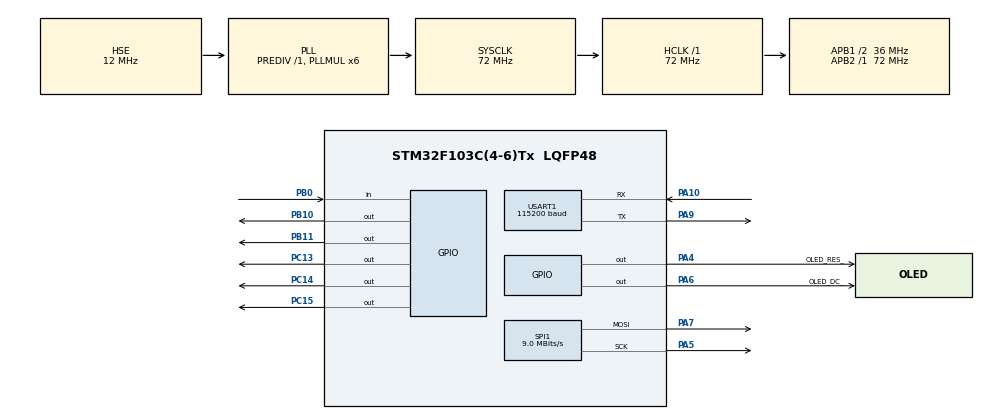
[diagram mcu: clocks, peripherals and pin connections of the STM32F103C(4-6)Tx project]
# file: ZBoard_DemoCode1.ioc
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Dma.Request0=USART1_RX
Dma.Request1=USART1_TX
Dma.USART1_RX.0.Direction=DMA_PERIPH_TO_MEMORY
Dma.USART1_RX.0.Instance=DMA1_Channel5
Dma.USART1_RX.0.MemDataAlignment=DMA_MDATAALIGN_BYTE
Dma.USART1_RX.0.MemInc=DMA_MINC_ENABLE
Dma.USART1_RX.0.Mode=DMA_NORMAL
Dma.USART1_RX.0.PeriphDataAlignment=DMA_PDATAALIGN_BYTE
Dma.USART1_RX.0.PeriphInc=DMA_PINC_DISABLE
Dma.USART1_RX.0.Priority=DMA_PRIORITY_LOW
Dma.USART1_TX.1.Direction=DMA_MEMORY_TO_PERIPH
Dma.USART1_TX.1.Instance=DMA1_Channel4
Dma.USART1_TX.1.MemDataAlignment=DMA_MDATAALIGN_BYTE
Dma.USART1_TX.1.MemInc=DMA_MINC_ENABLE
Dma.USART1_TX.1.Mode=DMA_NORMAL
Dma.USART1_TX.1.PeriphDataAlignment=DMA_PDATAALIGN_BYTE
Dma.USART1_TX.1.PeriphInc=DMA_PINC_DISABLE
Dma.USART1_TX.1.Priority=DMA_PRIORITY_LOW
Mcu.Family=STM32F1
Mcu.Name=STM32F103C(4-6)Tx
Mcu.Package=LQFP48
NVIC.DMA1_Channel4_IRQn=true\:0\:0\:false\:false\:true\:false\:true
NVIC.DMA1_Channel5_IRQn=true\:0\:0\:false\:false\:true\:false\:true
NVIC.PriorityGroup=NVIC_PRIORITYGROUP_4
NVIC.USART1_IRQn=true\:0\:0\:false\:false\:true\:true\:true
PA10.Mode=Asynchronous
PA10.Signal=USART1_RX
PA13.Mode=Serial_Wire
PA13.Signal=SYS_JTMS-SWDIO
PA14.Mode=Serial_Wire
PA14.Signal=SYS_JTCK-SWCLK
PA4.GPIO_Label=OLED_RES_
PA4.Signal=GPIO_Output
PA5.Mode=TX_Only_Simplex_Unidirect_Master
PA5.Signal=SPI1_SCK
PA6.GPIO_Label=OLED_DC_
PA6.Signal=GPIO_Output
PA7.Mode=TX_Only_Simplex_Unidirect_Master
PA7.Signal=SPI1_MOSI
PA9.Mode=Asynchronous
PA9.Signal=USART1_TX
PB0.GPIO_PuPd=GPIO_PULLUP
PB0.Signal=GPIO_Input
PB10.GPIO_ModeDefaultOutputPP=GPIO_MODE_OUTPUT_OD
PB10.GPIO_PuPd=GPIO_PULLUP
PB10.Signal=GPIO_Output
PB11.GPIO_ModeDefaultOutputPP=GPIO_MODE_OUTPUT_OD
PB11.GPIO_PuPd=GPIO_PULLUP
PB11.Signal=GPIO_Output
PC13-TAMPER-RTC.Signal=GPIO_Output
PC14-OSC32_IN.Signal=GPIO_Output
PC15-OSC32_OUT.Signal=GPIO_Output
PD0-OSC_IN.Mode=HSE-External-Oscillator
PD0-OSC_IN.Signal=RCC_OSC_IN
PD1-OSC_OUT.Mode=HSE-External-Oscillator
PD1-OSC_OUT.Signal=RCC_OSC_OUT
ProjectManager.HeapSize=0x200
ProjectManager.StackSize=0x400
ProjectManager.TargetToolchain=MDK-ARM V5.32
RCC.ADCPresc=RCC_ADCPCLK2_DIV6
RCC.AHBFreq_Value=72000000
RCC.APB1CLKDivider=RCC_HCLK_DIV2
RCC.APB1Freq_Value=36000000
RCC.APB1TimFreq_Value=72000000
RCC.APB2Freq_Value=72000000
RCC.APB2TimFreq_Value=72000000
RCC.FLatency=FLASH_LATENCY_2
RCC.HCLKFreq_Value=72000000
RCC.HSE_VALUE=12000000
RCC.PLLMUL=RCC_PLL_MUL6
RCC.PLLSourceVirtual=RCC_PLLSOURCE_HSE
RCC.SYSCLKFreq_VALUE=72000000
RCC.SYSCLKSource=RCC_SYSCLKSOURCE_PLLCLK
RCC.USBFreq_Value=72000000
SPI1.BaudRatePrescaler=SPI_BAUDRATEPRESCALER_8
SPI1.CalculateBaudRate=9.0 MBits/s
SPI1.Direction=SPI_DIRECTION_2LINES
SPI1.Mode=SPI_MODE_MASTER
SPI1.VirtualType=VM_MASTER
USART1.BaudRate=115200
USART1.Mode=MODE_TX_RX
USART1.Parity=PARITY_NONE
USART1.StopBits=STOPBITS_1
USART1.VirtualMode=VM_ASYNC
USART1.WordLength=WORDLENGTH_8B
board=custom

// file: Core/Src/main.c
/* USER CODE BEGIN Header */
/**
  ******************************************************************************
  * @file           : main.c
  * @brief          : Main program body
  ******************************************************************************
  * @attention
  *
  * <h2><center>&copy; Copyright (c) 2023 STMicroelectronics.
  * All rights reserved.</center></h2>
  *
  * This software component is licensed by ST under BSD 3-Clause license,
  * the "License"; You may not use this file except in compliance with the
  * License. You may obtain a copy of the License at:
  *                        opensource.org/licenses/BSD-3-Clause
  *
  ******************************************************************************
  */
/* USER CODE END Header */
#include "main.h"
#include "dma.h"
#include "spi.h"
#include "usart.h"
#include "gpio.h"

/* USER CODE BEGIN Includes */
#include "stdio.h"
#include "string.h"
#include "math.h"
#include "oled.h"
#include "SOLGUI_Include.h"
#include "comm.h"
/* USER CODE END Includes */

/* USER CODE BEGIN PV */
uint8_t txbuf[80], rxbuf[40], showbuf[40];
uint8_t startflag = 0, stopflag = 0, channel = 0, sw = 0;
KDRobot *kdrobot = (KDRobot*)rxbuf;
float chxp[] = {1,2,3,4};
float chxi[] = {2,3,4,5};
float chxd[] = {3,4,5,6};
float chxt[] = {4,5,6,7};
float chxa[] = {5,6,7,8};

float *pchxp[] = {chxp,chxp+1,chxp+2,chxp+3};
float *pchxi[] = {chxi,chxi+1,chxi+2,chxi+3};
float *pchxd[] = {chxd,chxd+1,chxd+2,chxd+3};
float *pchxt[] = {chxt,chxt+1,chxt+2,chxt+3};
float *pchxa[] = {chxa,chxa+1,chxa+2,chxa+3};
/* USER CODE END PV */

void SystemClock_Config(void);

int main(void)
{

  /* MCU Configuration--------------------------------------------------------*/

  /* Reset of all peripherals, Initializes the Flash interface and the Systick. */
  HAL_Init();

  /* Configure the system clock */
  SystemClock_Config();

  /* Initialize all configured peripherals */
  MX_GPIO_Init();
  MX_DMA_Init();
  MX_USART1_UART_Init();
  MX_SPI1_Init();
  /* USER CODE BEGIN 2 */
  SOLGUI_Init();
  HAL_UART_Transmit_DMA(&huart1, (uint8_t*)"Hello KDRobot", 13);
  HAL_UARTEx_ReceiveToIdle_DMA(&huart1, rxbuf, 40);
  /* USER CODE END 2 */

  /* Infinite loop */
  /* USER CODE BEGIN WHILE */
  while (1)
  {
    if(sw)
    {
      if(startflag)
      {
        KDRobot kd;
        static float x = 0;
        for(int idx = 0; idx < 4; idx++)
        {
          HAL_UART_Transmit(&huart1, KDCOM_SetData(&kd, (uint8)idx, 100.0 * sin(x + idx) * cos(x + idx + 0.31) + 50.0 * sin(0.1 * x) + idx * 100.0, chxa[0]), sizeof(KDRobot), 10);
        }
        HAL_Delay(10);
        x += 0.05;
      }
      if(GPIO_PIN_RESET == HAL_GPIO_ReadPin(GPIOB, GPIO_PIN_0))
      {
        sw = 0;
      }
    }
    else
    {
      if(startflag)
      {
        static float x = 0;
        sprintf((char *)txbuf, "%.2f,%.2f,%.2f,%.2f,%.2f,%.2f,%.2f,%.2f\n", 100.0*sin(x), -100.0, 100.0*sin(x+1.0), 100.0, 200.0*sin(x+2.0), -200.0, 50.0*sin(x+3.0), 200.0);
        HAL_UART_Transmit(&huart1, txbuf, strlen((const char*)txbuf), 10);
        HAL_Delay(50);
        x += 0.2;
      }
      if(GPIO_PIN_RESET == HAL_GPIO_ReadPin(GPIOB, GPIO_PIN_1))
      {
        sw = 1;
      }
    }
    if(stopflag)
    {
      startflag = 0;
      stopflag = 0;
    }
    sprintf((char*)showbuf, "P:%.2f %.2f %.2f %.2f", chxp[0],chxp[1],chxp[2],chxp[3]);
    SOLGUI_printf(0, 0, F6X8, showbuf);
    sprintf((char*)showbuf, "I:%.2f %.2f %.2f %.2f", chxi[0],chxi[1],chxi[2],chxi[3]);
    SOLGUI_printf(0, 8, F6X8, showbuf);
    sprintf((char*)showbuf, "D:%.2f %.2f %.2f %.2f", chxd[0],chxd[1],chxd[2],chxd[3]);
    SOLGUI_printf(0, 16, F6X8, showbuf);
    sprintf((char*)showbuf, "T:%.2f %.2f %.2f %.2f", chxt[0],chxt[1],chxt[2],chxt[3]);
    SOLGUI_printf(0, 24, F6X8, showbuf);
    sprintf((char*)showbuf, "A:%.2f %.2f %.2f %.2f", chxa[0],chxa[1],chxa[2],chxa[3]);
    SOLGUI_printf(0, 32, F6X8, showbuf);
    sprintf((char*)showbuf, "start-%d,stop-%d", startflag, stopflag);
    SOLGUI_printf(0, 40, F6X8, showbuf);
    sprintf((char*)showbuf, "ch-%d sw-%d", channel, sw);
    SOLGUI_printf(0, 48, F6X8, showbuf);
    SOLGUI_printf(0, 56, F6X8, rxbuf);
    SOLGUI_Refresh();
  }

  /* USER CODE END WHILE */

}

void SystemClock_Config(void)
{
  RCC_OscInitTypeDef RCC_OscInitStruct = {0};
  RCC_ClkInitTypeDef RCC_ClkInitStruct = {0};

  /** Initializes the RCC Oscillators according to the specified parameters
  * in the RCC_OscInitTypeDef structure.
  */
  RCC_OscInitStruct.OscillatorType = RCC_OSCILLATORTYPE_HSE;
  RCC_OscInitStruct.HSEState = RCC_HSE_ON;
  RCC_OscInitStruct.HSEPredivValue = RCC_HSE_PREDIV_DIV1;
  RCC_OscInitStruct.HSIState = RCC_HSI_ON;
  RCC_OscInitStruct.PLL.PLLState = RCC_PLL_ON;
  RCC_OscInitStruct.PLL.PLLSource = RCC_PLLSOURCE_HSE;
  RCC_OscInitStruct.PLL.PLLMUL = RCC_PLL_MUL6;
  if (HAL_RCC_OscConfig(&RCC_OscInitStruct) != HAL_OK)
  {
    Error_Handler();
  }
  /** Initializes the CPU, AHB and APB buses clocks
  */
  RCC_ClkInitStruct.ClockType = RCC_CLOCKTYPE_HCLK|RCC_CLOCKTYPE_SYSCLK
                              |RCC_CLOCKTYPE_PCLK1|RCC_CLOCKTYPE_PCLK2;
  RCC_ClkInitStruct.SYSCLKSource = RCC_SYSCLKSOURCE_PLLCLK;
  RCC_ClkInitStruct.AHBCLKDivider = RCC_SYSCLK_DIV1;
  RCC_ClkInitStruct.APB1CLKDivider = RCC_HCLK_DIV2;
  RCC_ClkInitStruct.APB2CLKDivider = RCC_HCLK_DIV1;

  if (HAL_RCC_ClockConfig(&RCC_ClkInitStruct, FLASH_LATENCY_2) != HAL_OK)
  {
    Error_Handler();
  }
}

/* USER CODE BEGIN 4 */
void HAL_UARTEx_RxEventCallback(UART_HandleTypeDef *huart, uint16_t Size)
{
  if(&huart1 == huart)
  {
    // HAL_UART_Transmit_DMA(&huart1, rxbuf, strlen((const char*)rxbuf));
    KDCOM_Process((uint8*)rxbuf, &channel, pchxp, pchxi, pchxd, pchxt, pchxa, &startflag, &stopflag, 0, 0);
    memset(rxbuf, 0, 40);
    HAL_UARTEx_ReceiveToIdle_DMA(&huart1, rxbuf, 40);
  }
}
/* USER CODE END 4 */

void Error_Handler(void)
{
  __disable_irq();
  while (1)
  {
  }
}

/************************ (C) COPYRIGHT STMicroelectronics *****END OF FILE****/
